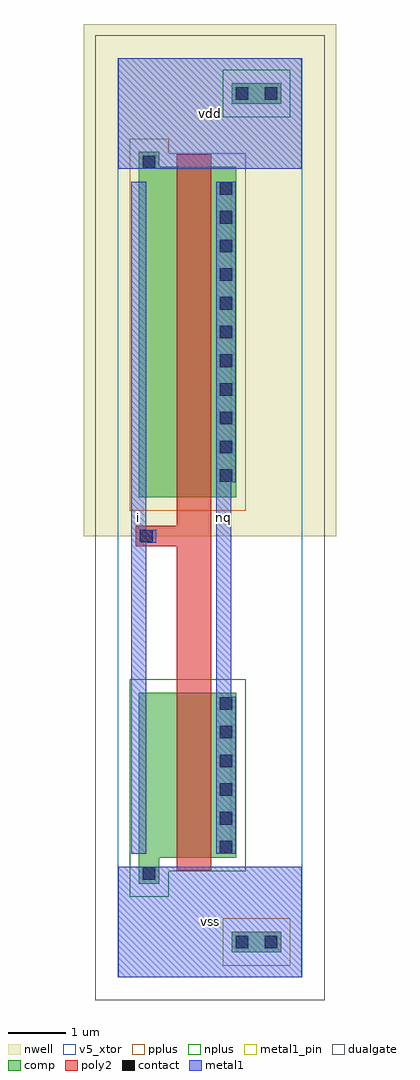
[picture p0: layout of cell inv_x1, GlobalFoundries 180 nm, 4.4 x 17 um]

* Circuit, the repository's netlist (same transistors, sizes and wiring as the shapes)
* inv_x1
.subckt inv_x1 vdd vss i nq
Mn vss i nq vss nfet_06v0 l=0.6um w=2.88um
Mp vdd i nq vdd pfet_06v0 l=0.6um w=5.76um
.ends inv_x1

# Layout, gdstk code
import gdstk
lib = gdstk.Library(unit=1e-6, precision=1e-09)
def R(c, l, rs):  # rectangles x0, y0, x1, y1
    for r in rs: c.add(gdstk.rectangle(r[:2], r[2:], *l))
def A(c, l, x, y, w, h, nx, ny, dx, dy):  # array of equal rectangles
    R(c, l, [(x+i*dx, y+j*dy, x+i*dx+w, y+j*dy+h) for i in range(nx) for j in range(ny)])
def P(c, l, *ps):  # polygons
    for p in ps: c.add(gdstk.Polygon(p, *l))
nwell = (21, 0)
comp = (22, 0)
poly2 = (30, 0)
pplus = (31, 0)
nplus = (32, 0)
contact = (33, 0)
metal1 = (34, 0)
metal1_pin = (34, 10)
dualgate = (55, 0)
v5_xtor = (112, 1)

inv_x1 = lib.new_cell('inv_x1')
R(inv_x1, nwell, [(-0.6,7.68,3.8,16.6)])
R(inv_x1, comp, [(1.98,0.43,2.84,0.79), (1.98,15.21,2.84,15.57)])
P(inv_x1, comp, [(0.36,1.625),(0.36,4.955),(2.06,4.955),(2.06,2.075),(0.72,2.075),(0.72,1.625)],
  [(0.36,8.355),(0.36,14.375),(0.72,14.375),(0.72,14.115),(2.06,14.115),(2.06,8.355)])
P(inv_x1, poly2, [(1.02,1.855),(1.02,7.5),(0.31,7.5),(0.31,7.86),(1.02,7.86),(1.02,14.335),(1.62,14.335),(1.62,1.855)])
R(inv_x1, pplus, [(1.82,0.2,3,1.02)])
P(inv_x1, pplus, [(0.2,8.125),(0.2,14.605),(0.88,14.605),(0.88,14.345),(2.22,14.345),(2.22,8.125)])
R(inv_x1, nplus, [(1.82,14.98,3,15.8)])
P(inv_x1, nplus, [(0.2,1.395),(0.2,5.185),(2.22,5.185),(2.22,1.845),(0.88,1.845),(0.88,1.395)])
A(inv_x1, contact, 1.77, 2.155, 0.22, 0.22, 1, 6, 0, 0.5)
A(inv_x1, contact, 1.77, 8.625, 0.22, 0.22, 1, 11, 0, 0.5)
R(inv_x1, contact, [(2.05,0.5,2.27,0.72), (2.55,0.5,2.77,0.72), (0.43,1.695,0.65,1.915), (0.38,7.57,0.6,7.79), (0.43,14.085,0.65,14.305), (2.05,15.28,2.27,15.5), (2.55,15.28,2.77,15.5)])
R(inv_x1, metal1, [(0,0,3.2,1.92), (0,14.08,3.2,16)])
P(inv_x1, metal1, [(0.23,2.15),(0.23,13.85),(0.49,13.85),(0.49,7.795),(0.66,7.795),(0.66,7.565),(0.49,7.565),(0.49,2.15)],
  [(1.71,2.15),(1.71,13.85),(2.05,13.85),(2.05,8.62),(1.97,8.62),(1.97,4.88),(2.05,4.88),(2.05,2.15)])
R(inv_x1, metal1_pin, [(0,0,3.2,1.92), (0.23,2.15,0.49,13.85), (1.71,2.15,1.97,13.85), (0,14.08,3.2,16)])
R(inv_x1, dualgate, [(-0.4,-0.4,3.6,16.4)])
R(inv_x1, v5_xtor, [(-0.005,-0.005,3.205,16.005)])
inv_x1.add(gdstk.Label('i', (0.36,8), layer=34, texttype=10))
inv_x1.add(gdstk.Label('vss', (1.6,0.96), layer=34, texttype=10))
inv_x1.add(gdstk.Label('vdd', (1.6,15.04), layer=34, texttype=10))
inv_x1.add(gdstk.Label('nq', (1.84,8), layer=34, texttype=10))

lib.write_gds('inv_x1.gds')
